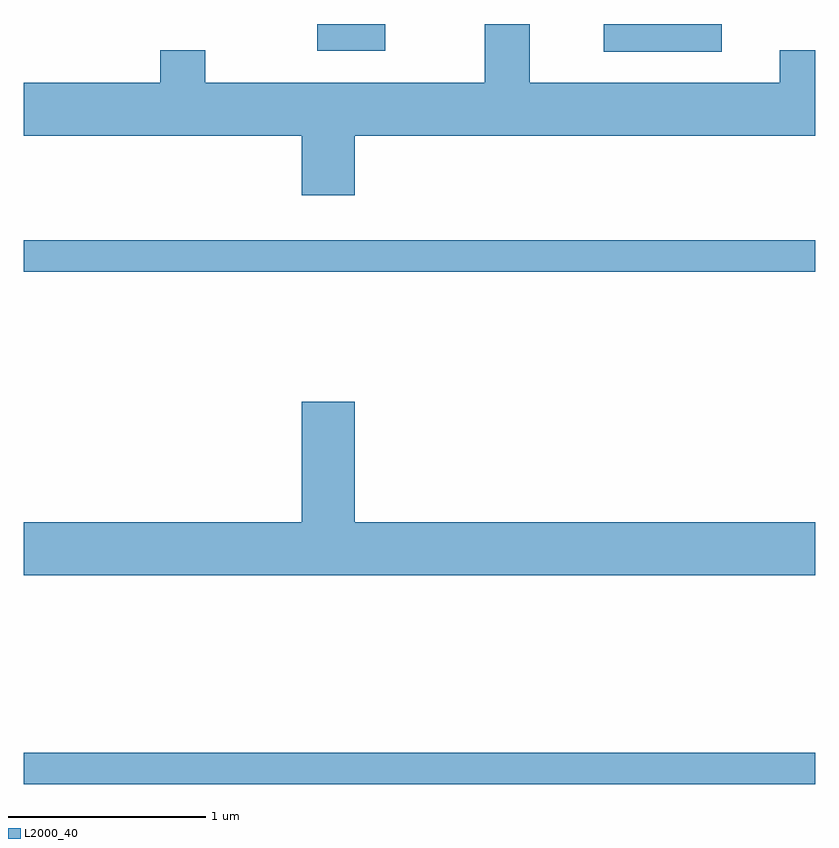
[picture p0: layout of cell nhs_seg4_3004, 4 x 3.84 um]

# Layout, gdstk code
import gdstk
lib = gdstk.Library(unit=1e-6, precision=1e-09)
def R(c, l, rs):  # rectangles x0, y0, x1, y1
    for r in rs: c.add(gdstk.rectangle(r[:2], r[2:], *l))
def P(c, l, *ps):  # polygons
    for p in ps: c.add(gdstk.Polygon(p, *l))
L2000_40 = (2000, 40)

nhs_seg4_3004 = lib.new_cell('nhs_seg4_3004')
R(nhs_seg4_3004, L2000_40, [(273.611,1278.141,277.611,1278.299), (273.611,1280.731,277.611,1280.889), (276.543,1281.841,277.139,1281.982), (275.093,1281.846,275.439,1281.982)])
P(nhs_seg4_3004, L2000_40, [(277.611,1281.849),(277.431,1281.849),(277.431,1281.684),(276.169,1281.684),(276.169,1281.982),(275.941,1281.982),(275.941,1281.684),(274.529,1281.684),(274.529,1281.849),(274.301,1281.849),(274.301,1281.684),(273.611,1281.684),(273.611,1281.416),(275.016,1281.416),(275.016,1281.116),(275.284,1281.116),(275.284,1281.416),(277.611,1281.416)],
  [(277.611,1279.464),(275.284,1279.464),(275.284,1280.074),(275.016,1280.074),(275.016,1279.464),(273.611,1279.464),(273.611,1279.196),(277.611,1279.196)])

lib.write_gds('nhs_seg4_3004.gds')
